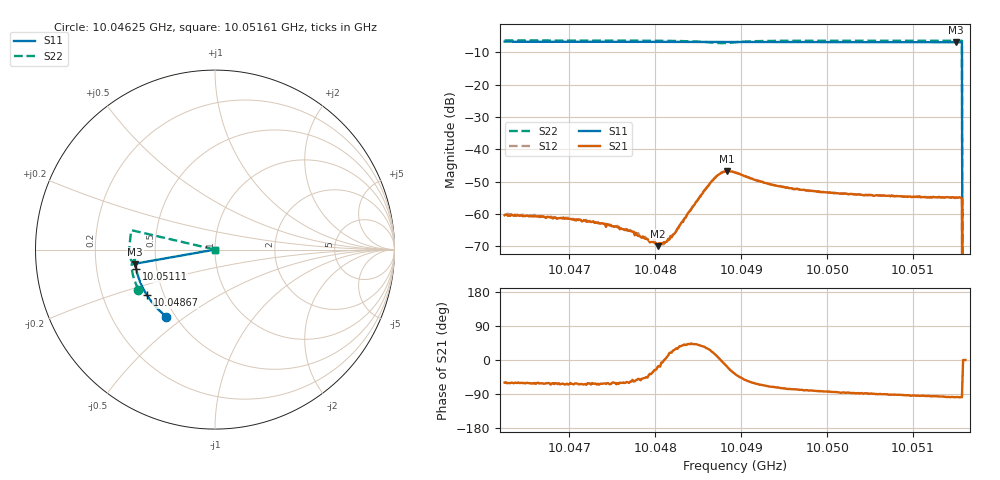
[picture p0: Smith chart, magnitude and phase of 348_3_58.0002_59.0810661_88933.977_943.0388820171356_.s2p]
#  HZ  S  RI  R  50.00
! Rohde & Schwarz Vector Network Analyzer
! Rohde-Schwarz,ZNB20-2Port,1311601062101988,3.16
! Created: UTC 3/21/2024, 1:05:54 AM
! freq[Hz]  re:S11  im:S11  re:S21  im:S21  re:S12  im:S12  re:S22  im:S22
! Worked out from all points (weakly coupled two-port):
!   401 points, 10.04625 GHz to 10.05161 GHz, reference 50 ohm
!   highest |S21| = -46.77 dB at 10.04883 GHz (marker M1); lowest = -69.9 dB at 10.04803 GHz (marker M2)
!   lowest |S11| = -6.9 dB at 10.0515 GHz (marker M3), VSWR 2.65, Z = 19 - j3.96 ohm
!   |S11| at or under -10 dB: 10.05157 GHz to end of sweep
!   |S22| runs from - to -6.4 dB; largest |S21 - S12| = 0.00033
!   S11 on the Smith chart (normalised r, x): 10.04625 GHz: 0.45, -0.42; 10.04867 GHz: 0.40, -0.26; 10.05111 GHz: 0.38, -0.10; 10.05161 GHz: 1.00, +0.00
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1.0046245e10  -0.2715 -0.3731  0.000485 -0.000827  0.000548 -0.000802  -0.4262 -0.2236
1.0046567e10  -0.288 -0.3596  0.000442 -0.000819  0.000493 -0.000818  -0.4352 -0.2041
1.0047143e10  -0.3158 -0.3336  0.000344 -0.000687  0.000443 -0.0007  -0.4494 -0.1676
1.0047532e10  -0.3334 -0.3148  0.000316 -0.000565  0.000352 -0.000544  -0.457 -0.1416
1.0047693e10  -0.3403 -0.3069  0.000272 -0.000478  0.000338 -0.000442  -0.4597 -0.1305
1.0047948e10  -0.3508 -0.2936  0.000295 -0.000226  0.000335 -0.000212  -0.463 -0.1121
1.0048028e10  -0.3543 -0.2896  0.000305 -9.35e-05  0.000341 -9.15e-05  -0.464 -0.1059
1.0048042e10  -0.3547 -0.2887  0.000339 -9.61e-05  0.00033 -9.87e-05  -0.464 -0.1048
1.0048109e10  -0.3574 -0.2854  0.000356 8.87e-06  0.000371 2.22e-05  -0.4643 -0.0996
1.0048216e10  -0.3618 -0.2798  0.000439 0.000212  0.000447 0.000227  -0.4645 -0.0908
1.0048538e10  -0.3737 -0.2622  0.0016 0.00121  0.00153 0.00133  -0.4553 -0.062
1.0048672e10  -0.3782 -0.2548  0.00317 0.00112  0.00311 0.00132  -0.4412 -0.0564
1.0048753e10  -0.3808 -0.2504  0.00421 0.000137  0.00423 0.000386  -0.4333 -0.0623
1.0048833e10  -0.3837 -0.2462  0.00437 -0.00138  0.00448 -0.00111  -0.4345 -0.0718
1.0048927e10  -0.387 -0.241  0.00351 -0.00261  0.0037 -0.00244  -0.4449 -0.0766
1.0049356e10  -0.4005 -0.2161  0.000929 -0.00267  0.00112 -0.00264  -0.4715 -0.0456
1.0049825e10  -0.4137 -0.1883  0.00038 -0.00224  0.00046 -0.00223  -0.4763 -0.0098
1.0050724e10  -0.4334 -0.1326  -5.98e-05 -0.00191  4.74e-05 -0.0019  -0.4738 0.0524
1.0051112e10  -0.4395 -0.1079  -0.000139 -0.00182  -5.83e-05 -0.00183  -0.4701 0.0783
1.0051501e10  -0.4443 -0.0829  -0.000244 -0.00179  -0.000149 -0.00177  -0.465 0.1036
1.0051542e10  -0.4448 -0.0805  -0.000268 -0.0018  -0.000159 -0.00178  -0.4644 0.1062
1.0051609e10  0 0  0 0  0 0  0 0
